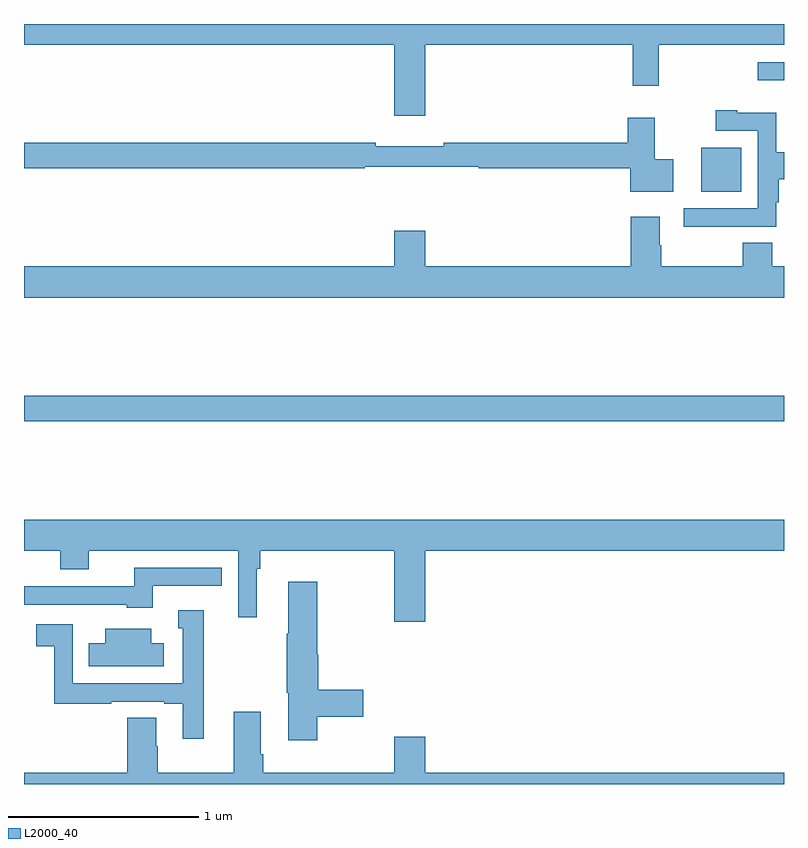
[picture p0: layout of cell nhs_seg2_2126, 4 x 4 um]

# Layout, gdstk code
import gdstk
lib = gdstk.Library(unit=1e-6, precision=1e-09)
def R(c, l, rs):  # rectangles x0, y0, x1, y1
    for r in rs: c.add(gdstk.rectangle(r[:2], r[2:], *l))
def P(c, l, *ps):  # polygons
    for p in ps: c.add(gdstk.Polygon(p, *l))
L2000_40 = (2000, 40)

nhs_seg2_2126 = lib.new_cell('nhs_seg2_2126')
R(nhs_seg2_2126, L2000_40, [(223,589.708,227,589.844), (226.565,590.918,226.774,591.148), (226.863,591.503,227,591.6)])
P(nhs_seg2_2126, L2000_40, [(225.112,591.692),(226.204,591.692),(226.204,591.474),(226.34,591.474),(226.34,591.692),(227,591.692),(227,591.8),(223,591.8),(223,591.692),(224.948,591.692),(224.948,591.318),(225.112,591.318)],
  [(226.694,590.733),(226.959,590.733),(226.959,590.862),(226.972,590.862),(226.972,590.984),(227,590.984),(227,591.124),(226.96,591.124),(226.96,591.334),(226.753,591.334),(226.753,591.346),(226.641,591.346),(226.641,591.237),(226.863,591.237),(226.863,590.829),(226.473,590.829),(226.473,590.732),(226.694,590.732)],
  [(226.417,591.088),(226.32,591.088),(226.32,591.307),(226.178,591.307),(226.178,591.176),(225.208,591.176),(225.208,591.157),(224.852,591.157),(224.852,591.176),(223,591.176),(223,591.04),(224.794,591.04),(224.794,591.048),(225.394,591.048),(225.394,591.04),(226.19,591.04),(226.19,590.918),(226.417,590.918)],
  [(227,590.524),(226.938,590.524),(226.938,590.648),(226.783,590.648),(226.783,590.524),(226.353,590.524),(226.353,590.636),(226.345,590.636),(226.345,590.785),(226.193,590.785),(226.193,590.524),(225.112,590.524),(225.112,590.713),(224.948,590.713),(224.948,590.524),(223,590.524),(223,590.36),(227,590.36)],
  [(225.112,589.028),(227,589.028),(227,589.192),(223,589.192),(223,589.028),(223.19,589.028),(223.19,588.929),(223.342,588.929),(223.342,589.028),(224.127,589.028),(224.127,588.678),(224.224,588.678),(224.224,588.932),(224.243,588.932),(224.243,589.028),(224.948,589.028),(224.948,588.654),(225.112,588.654)],
  [(223.678,588.843),(224.042,588.843),(224.042,588.939),(223.579,588.939),(223.579,588.84),(223.106,588.84),(223.106,588.842),(223,588.842),(223,588.744),(223.542,588.744),(223.542,588.728),(223.678,588.728)],
  [(224.544,588.154),(224.785,588.154),(224.785,588.296),(224.549,588.296),(224.549,588.479),(224.544,588.479),(224.544,588.865),(224.39,588.865),(224.39,588.59),(224.383,588.59),(224.383,588.279),(224.39,588.279),(224.39,588.03),(224.544,588.03)],
  [(223.945,588.715),(223.811,588.715),(223.811,588.621),(223.836,588.621),(223.836,588.33),(223.257,588.33),(223.257,588.642),(223.065,588.642),(223.065,588.526),(223.159,588.526),(223.159,588.222),(223.46,588.222),(223.46,588.234),(223.739,588.234),(223.739,588.222),(223.835,588.222),(223.835,588.039),(223.945,588.039)],
  [(223.735,588.541),(223.669,588.541),(223.669,588.616),(223.427,588.616),(223.427,588.541),(223.342,588.541),(223.342,588.419),(223.735,588.419)],
  [(227,587.86),(225.112,587.86),(225.112,588.049),(224.948,588.049),(224.948,587.86),(224.258,587.86),(224.258,587.956),(224.245,587.956),(224.245,588.181),(224.105,588.181),(224.105,587.86),(223.704,587.86),(223.704,587.999),(223.696,587.999),(223.696,588.149),(223.544,588.149),(223.544,587.86),(223,587.86),(223,587.8),(227,587.8)])

lib.write_gds('nhs_seg2_2126.gds')
